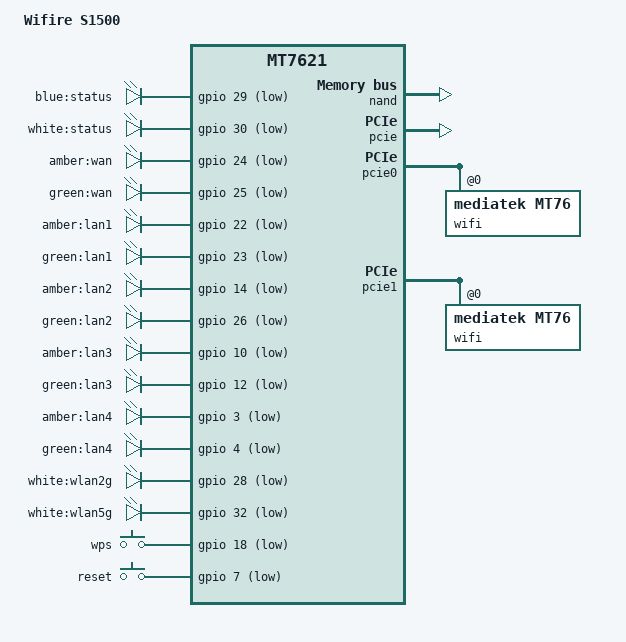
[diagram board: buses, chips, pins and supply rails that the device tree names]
// SPDX-License-Identifier: GPL-2.0-or-later OR MIT
/dts-v1/;

#include "mt7621.dtsi"

#include <dt-bindings/gpio/gpio.h>
#include <dt-bindings/input/input.h>

/ {
	compatible = "wifire,s1500", "mediatek,mt7621-soc";
	model = "Wifire S1500";

	aliases {
		led-boot = &led_status_white;
		led-failsafe = &led_status_white;
		led-running = &led_status_blue;
		led-upgrade = &led_status_white;
		label-mac-device = &gmac0;
	};

	chosen {
		bootargs = "console=ttyS0,115200n8";
	};

	leds {
		compatible = "gpio-leds";

		led_status_blue: status_blue {
			label = "blue:status";
			gpios = <&gpio 29 GPIO_ACTIVE_LOW>;
		};

		led_status_white: status_white {
			label = "white:status";
			gpios = <&gpio 30 GPIO_ACTIVE_LOW>;
			trigger-sources = <&xhci_ehci_port1>, <&ehci_port2>;
			linux,default-trigger = "usbport";
		};

		wan_amber {
			label = "amber:wan";
			gpios = <&gpio 24 GPIO_ACTIVE_LOW>;
			linux,default-trigger = "dsa-0.0:04:link";
		};

		wan_green {
			label = "green:wan";
			gpios = <&gpio 25 GPIO_ACTIVE_LOW>;
			linux,default-trigger = "dsa-0.0:04:1Gbps";
		};

		lan1_amber {
			label = "amber:lan1";
			gpios = <&gpio 22 GPIO_ACTIVE_LOW>;
			linux,default-trigger = "dsa-0.0:03:link";
		};


		lan1_green {
			label = "green:lan1";
			gpios = <&gpio 23 GPIO_ACTIVE_LOW>;
			linux,default-trigger = "dsa-0.0:03:1Gbps";
		};

		lan2_amber {
			label = "amber:lan2";
			gpios = <&gpio 14 GPIO_ACTIVE_LOW>;
			linux,default-trigger = "dsa-0.0:02:link";
		};

		lan2_green {
			label = "green:lan2";
			gpios = <&gpio 26 GPIO_ACTIVE_LOW>;
			linux,default-trigger = "dsa-0.0:02:1Gbps";
		};

		lan3_amber {
			label = "amber:lan3";
			gpios = <&gpio 10 GPIO_ACTIVE_LOW>;
			linux,default-trigger = "dsa-0.0:01:link";
		};

		lan3_green {
			label = "green:lan3";
			gpios = <&gpio 12 GPIO_ACTIVE_LOW>;
			linux,default-trigger = "dsa-0.0:01:1Gbps";
		};

		lan4_amber {
			label = "amber:lan4";
			gpios = <&gpio 3 GPIO_ACTIVE_LOW>;
			linux,default-trigger = "dsa-0.0:00:link";
		};

		lan4_green {
			label = "green:lan4";
			gpios = <&gpio 4 GPIO_ACTIVE_LOW>;
			linux,default-trigger = "dsa-0.0:00:1Gbps";
		};

		wlan2g {
			label = "white:wlan2g";
			gpios = <&gpio 28 GPIO_ACTIVE_LOW>;
			linux,default-trigger = "phy1tpt";
		};

		wlan5g {
			label = "white:wlan5g";
			gpios = <&gpio 32 GPIO_ACTIVE_LOW>;
			linux,default-trigger = "phy0tpt";
		};
	};

	keys {
		compatible = "gpio-keys";

		wps {
			label = "wps";
			gpios = <&gpio 18 GPIO_ACTIVE_LOW>;
			linux,code = <KEY_WPS_BUTTON>;
		};

		reset {
			label = "reset";
			gpios = <&gpio 7 GPIO_ACTIVE_LOW>;
			linux,code = <KEY_RESTART>;
		};
	};
};

&nand {
	status = "okay";

	partitions {
		compatible = "fixed-partitions";
		#address-cells = <1>;
		#size-cells = <1>;

		partition@0 {
			label = "Bootloader";
			reg = <0x0 0x80000>;
			read-only;
		};

		partition@80000 {
			label = "Config";
			reg = <0x80000 0x40000>;
		};

		partition@c0000 {
			label = "Bdata";
			reg = <0xc0000 0x40000>;
			read-only;
		};

		factory: partition@100000 {
			label = "factory";
			reg = <0x100000 0x40000>;
			read-only;
		};

		partition@140000 {
			label = "crash";
			reg = <0x140000 0x40000>;
			read-only;
		};

		partition@180000 {
			label = "crash_syslog";
			reg = <0x180000 0x40000>;
			read-only;
		};

		partition@1c0000 {
			label = "reserved0";
			reg = <0x1c0000 0x40000>;
			read-only;
		};

		/* We not keep stock original firmware (kernel0) here */
		partition@200000 {
			label = "kernel_stock";
			reg = <0x200000 0x400000>;
			read-only;
		};

		partition@600000 {
			label = "kernel";
			reg = <0x600000 0x400000>;
		};

		partition@a00000 {
			label = "ubi";
			reg = <0xa00000 0x7580000>;
		};

		partition@ff80000 {
			label = "bbt";
			reg = <0x7f80000 0x80000>;
			read-only;
		};
	};
};

&pcie {
	status = "okay";
};

&pcie0 {
	wifi@0,0 {
		compatible = "mediatek,mt76";
		reg = <0x0000 0 0 0 0>;
		mediatek,mtd-eeprom = <&factory 0x8000>;
		mtd-mac-address = <&factory 0x1000>;
		mtd-mac-address-increment = <3>;
		ieee80211-freq-limit = <5000000 6000000>;
	};
};

&pcie1 {
	wifi@0,0 {
		compatible = "mediatek,mt76";
		reg = <0x0000 0 0 0 0>;
		mediatek,mtd-eeprom = <&factory 0x0000>;
		mtd-mac-address = <&factory 0x1000>;
		mtd-mac-address-increment = <2>;
		ieee80211-freq-limit = <2400000 2500000>;
	};
};

&gmac0 {
	mtd-mac-address = <&factory 0x1000>;
};

&switch0 {
	ports {
		port@0 {
			status = "okay";
			label = "lan4";
		};

		port@1 {
			status = "okay";
			label = "lan3";
		};

		port@2 {
			status = "okay";
			label = "lan2";
		};

		port@3 {
			status = "okay";
			label = "lan1";
		};

		port@4 {
			status = "okay";
			label = "wan";
			mtd-mac-address = <&factory 0x1000>;
			mtd-mac-address-increment = <1>;
		};
	};
};

&state_default {
	gpio {
		groups = "jtag", "uart2", "uart3", "wdt";
		function = "gpio";
	};
};
